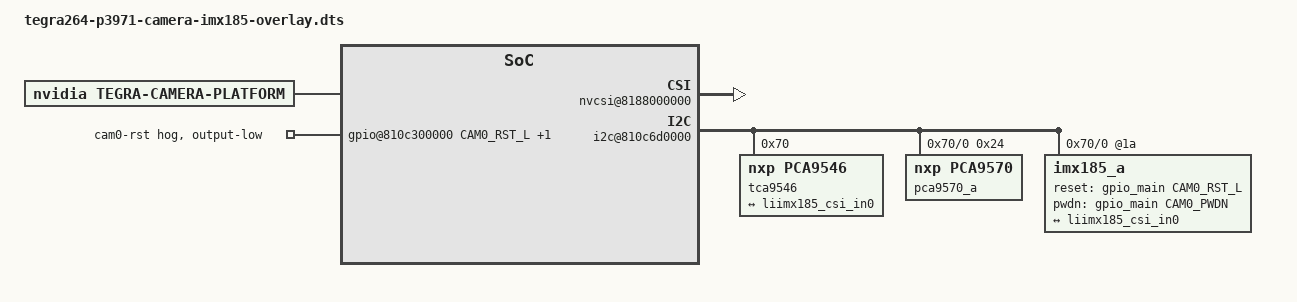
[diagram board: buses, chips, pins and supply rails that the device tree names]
// SPDX-License-Identifier: GPL-2.0-only
// SPDX-FileCopyrightText: Copyright (c) 2025, NVIDIA CORPORATION & AFFILIATES. All rights reserved.
/* Jetson Device-tree overlay for Camera IMX185 on T264 platforms */
/dts-v1/;
/plugin/;

#include <dt-bindings/clock/tegra264-clk.h>
#include <dt-bindings/gpio/tegra264-gpio.h>

/* camera control gpio definitions */
#define CAM0_RST_L	TEGRA264_MAIN_GPIO(V, 2)
#define CAM0_PWDN	TEGRA264_MAIN_GPIO(AL, 1)
#define JETSON_COMPATIBLE	"nvidia,p3971-0089+p3834-0008", "nvidia,p3971-0050+p3834-0005", "nvidia,p3971-0080+p3834-0008"

/ {
	overlay-name = "Jetson Camera IMX185";
	jetson-header-name = "Jetson AGX CSI Connector";
	compatible = JETSON_COMPATIBLE;

	fragment@0 {
		target-path = "/";

		board_config {
			ids = "LPRD-002001", "LPRD-002", "LPRD-001";
			sw-modules = "kernel";
		};

		__overlay__ {
			/* Add tegra-capture-vi section */
			tegra-capture-vi {
				status = "okay";
				num-channels = <1>;
				ports {
					status = "okay";
					port@0 {
						status = "okay";
						endpoint {
							status = "okay";
							port-index = <0>;
							bus-width = <4>;
							remote-endpoint = <&liimx185_csi_out0>;
						};
					};
				};
			};

			/* Add tegra-camera-platform section */
			tegra-camera-platform {
				status = "okay";
				compatible = "nvidia, tegra-camera-platform";
				modules {
					status = "okay";
					module0 {
						status = "okay";
						badge = "imx185_bottom_liimx185";
						position = "bottom";
						orientation = "1";
						drivernode0 {
							status = "okay";
							pcl_id = "v4l2_sensor";
							sysfs-device-tree = "/sys/firmware/devicetree/base/bus@0/i2c@810c6d0000/tca9546@70/i2c@0/imx185_a@1a";
						};
					};
				};
			};

			bus@0 {
				gpio@810c300000 {
					camera-control-output-low {
						gpio-hog;
						output-low;
						gpios = <CAM0_RST_L 0 CAM0_PWDN 0>;
						label = "cam0-rst", "cam0-pwdn";
					};
				};

				/* Add host1x and nvcsi sections */
				host1x@8181200000 {
					nvcsi@8188000000 {
						num-channels = <1>;
						status = "okay";
						channel@0 {
							status = "okay";
							ports {
								status = "okay";
								port@0 {
									status = "okay";
									endpoint@0 {
										status = "okay";
										port-index = <0>;
										bus-width = <4>;
										remote-endpoint = <&liimx185_imx185_out0>;
									};
								};
								port@1 {
									status = "okay";
									endpoint@1 {
										status = "okay";
										remote-endpoint = <&liimx185_vi_in0>;
									};
								};
							};
						};
					};
				};

				i2c@810c6d0000 {
					tca9546@70 {
						status = "okay";
						compatible = "nxp,pca9546";
						reg = <0x70>;
						#address-cells = <1>;
						#size-cells = <0>;
						skip_mux_detect = "yes";

						i2c@0 {
							reg = <0>;
							status = "okay";
							i2c-mux,deselect-on-exit;
							#address-cells = <1>;
							#size-cells = <0>;
							pca9570_a@24 {
								status = "okay";
								compatible = "nxp,pca9570";
								reg = <0x24>;
								channel = "a";
								drive_ic = "DRV8838";
							};

							imx185_a@1a {
								status = "okay";
								/* Define any required hw resources needed by driver */
								/* ie. clocks, io pins, power sources */
								clocks = <&bpmp TEGRA264_CLK_EXTPERIPH1>,
									<&bpmp TEGRA264_CLK_EXTPERIPH1>;
								clock-names = "extperiph1", "pllp_grtba";
								mclk = "extperiph1";
								reset-gpios = <&gpio_main CAM0_RST_L GPIO_ACTIVE_HIGH>;
								pwdn-gpios = <&gpio_main CAM0_PWDN GPIO_ACTIVE_HIGH>;

								/* Add ports section */
								ports {
									status = "okay";
									port@0 {
										status = "okay";
										endpoint {
											status = "okay";
											port-index = <0>;
											bus-width = <4>;
											remote-endpoint = <&liimx185_csi_in0>;
										};
									};
								};
							};
						};
					};
				};
			};
		};
	};
};
